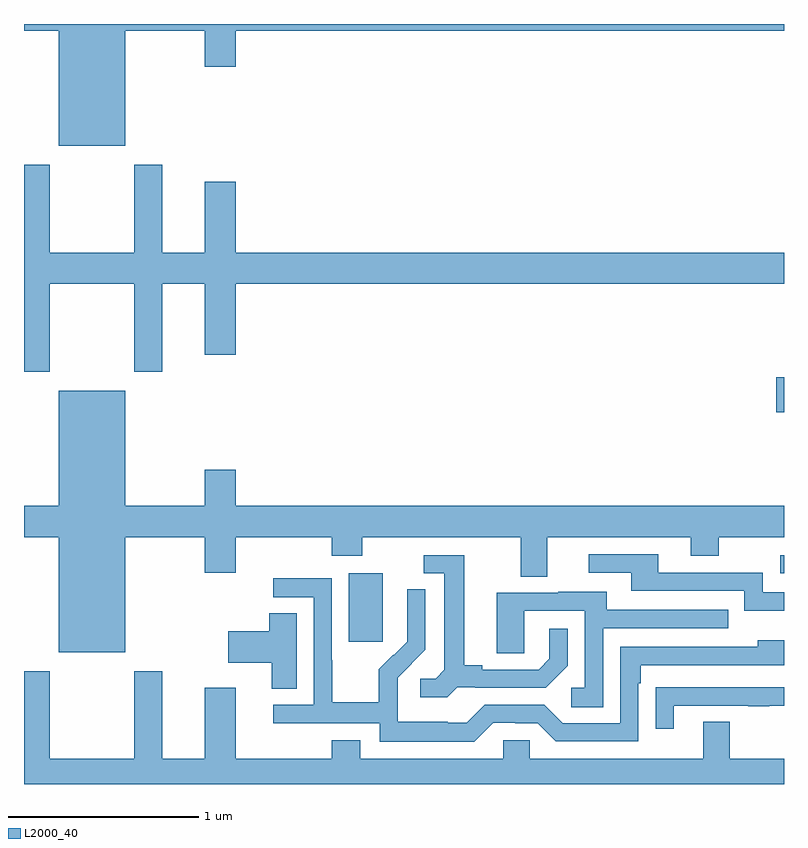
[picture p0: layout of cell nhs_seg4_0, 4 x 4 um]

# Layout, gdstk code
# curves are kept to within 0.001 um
import gdstk
lib = gdstk.Library(unit=1e-6, precision=1e-09)
def R(c, l, rs):  # rectangles x0, y0, x1, y1
    for r in rs: c.add(gdstk.rectangle(r[:2], r[2:], *l))
def P(c, l, *ps):  # polygons
    for p in ps: c.add(gdstk.Polygon(p, *l))
L2000_40 = (2000, 40)

nhs_seg4_0 = lib.new_cell('nhs_seg4_0')
R(nhs_seg4_0, L2000_40, [(112.709,749.649,112.888,750.01), (114.981,750.009,115,750.105), (114.96,750.857,115,751.04)])
P(nhs_seg4_0, L2000_40, [(111.532,752.864),(111.95,752.864),(111.95,752.676),(112.114,752.676),(112.114,752.864),(115,752.864),(115,752.9),(111,752.9),(111,752.864),(111.182,752.864),(111.182,752.258),(111.532,752.258)],
  [(111.135,751.532),(111.58,751.532),(111.58,751.071),(111.727,751.071),(111.727,751.532),(111.95,751.532),(111.95,751.158),(112.114,751.158),(112.114,751.532),(115,751.532),(115,751.696),(112.114,751.696),(112.114,752.071),(111.95,752.071),(111.95,751.696),(111.727,751.696),(111.727,752.158),(111.58,752.158),(111.58,751.696),(111.135,751.696),(111.135,752.158),(111,752.158),(111,751.071),(111.135,751.071)],
  [(111.532,750.2),(111.95,750.2),(111.95,750.012),(112.114,750.012),(112.114,750.2),(112.619,750.2),(112.619,750.101),(112.779,750.101),(112.779,750.2),(113.615,750.2),(113.615,749.992),(113.755,749.992),(113.755,750.2),(114.509,750.2),(114.509,750.101),(114.657,750.101),(114.657,750.2),(115,750.2),(115,750.364),(112.114,750.364),(112.114,750.553),(111.95,750.553),(111.95,750.364),(111.532,750.364),(111.532,750.97),(111.182,750.97),(111.182,750.364),(111,750.364),(111,750.2),(111.182,750.2),(111.182,749.594),(111.532,749.594)],
  [(115,749.91),(114.888,749.91),(114.888,750.012),(114.337,750.012),(114.337,750.108),(113.973,750.108),(113.973,750.012),(114.197,750.012),(114.197,749.916),(114.792,749.916),(114.792,749.813),(115,749.813)],
  [(113.28,749.409),(113.374,749.409),(113.374,749.406),(113.746,749.406),(113.862,749.522),(113.862,749.716),(113.765,749.716),(113.765,749.559),(113.708,749.502),(113.413,749.502),(113.413,749.525),(113.317,749.525),(113.317,750.105),(113.103,750.105),(113.103,750.009),(113.213,750.009),(113.213,749.501),(113.166,749.454),(113.085,749.454),(113.085,749.357),(113.228,749.357)],
  [(113.469,749.223),(113.585,749.223),(113.585,749.22),(113.703,749.22),(113.799,749.124),(114.234,749.124),(114.234,749.429),(114.247,749.429),(114.247,749.526),(115,749.526),(115,749.656),(114.863,749.656),(114.863,749.622),(114.138,749.622),(114.138,749.22),(113.835,749.22),(113.739,749.316),(113.424,749.316),(113.331,749.223),(113.231,749.223),(113.231,749.227),(112.968,749.227),(112.968,749.361),(112.966,749.361),(112.966,749.458),(113.112,749.606),(113.112,749.924),(113.016,749.924),(113.016,749.77),(113.018,749.77),(113.018,749.648),(112.947,749.577),(112.944,749.58),(112.867,749.503),(112.867,749.329),(112.623,749.329),(112.623,749.552),(112.62,749.552),(112.62,749.982),(112.311,749.982),(112.311,749.883),(112.524,749.883),(112.524,749.316),(112.311,749.316),(112.311,749.22),(112.872,749.22),(112.872,749.123),(113.369,749.123)],
  [(114.048,749.721),(114.707,749.721),(114.707,749.817),(114.067,749.817),(114.067,749.911),(113.813,749.911),(113.813,749.907),(113.489,749.907),(113.489,749.587),(113.634,749.587),(113.634,749.811),(113.952,749.811),(113.952,749.406),(113.88,749.406),(113.88,749.305),(114.048,749.305)],
  [(112.435,749.798),(112.292,749.798),(112.292,749.703),(112.074,749.703),(112.074,749.537),(112.304,749.537),(112.304,749.401),(112.435,749.401)],
  [(115,749.032),(114.715,749.032),(114.715,749.227),(114.575,749.227),(114.575,749.032),(113.661,749.032),(113.661,749.13),(113.523,749.13),(113.523,749.032),(112.771,749.032),(112.771,749.131),(112.619,749.131),(112.619,749.032),(112.114,749.032),(112.114,749.407),(111.95,749.407),(111.95,749.032),(111.727,749.032),(111.727,749.494),(111.58,749.494),(111.58,749.032),(111.135,749.032),(111.135,749.494),(111,749.494),(111,748.9),(115,748.9)],
  [(114.421,749.313),(114.811,749.313),(114.811,749.308),(114.923,749.308),(114.923,749.313),(115,749.313),(115,749.409),(114.427,749.409),(114.427,749.408),(114.325,749.408),(114.325,749.19),(114.421,749.19)])

lib.write_gds('nhs_seg4_0.gds')
